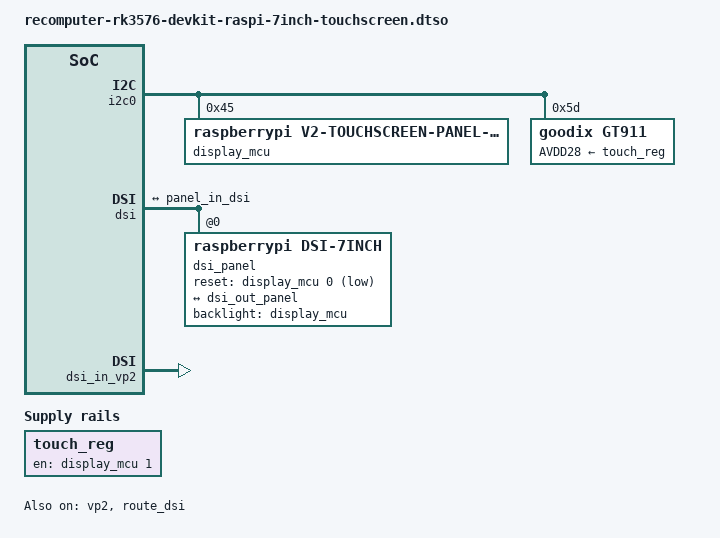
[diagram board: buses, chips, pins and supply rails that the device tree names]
/dts-v1/;
/plugin/;
#include <dt-bindings/usb/pd.h>
#include <dt-bindings/gpio/gpio.h>
#include <dt-bindings/pwm/pwm.h>
#include <dt-bindings/pinctrl/rockchip.h>
#include <dt-bindings/input/rk-input.h>
#include <dt-bindings/display/drm_mipi_dsi.h>
#include <dt-bindings/display/rockchip_vop.h>
#include <dt-bindings/sensor-dev.h>
#include <dt-bindings/gpio/gpio.h>
#include <dt-bindings/pinctrl/rockchip.h>

/ {


	fragment@0 {
		target-path = "/";

		__overlay__ {
			touch_reg: touch_reg {
				compatible = "regulator-fixed";
				regulator-name = "touch_reg_1";
				gpio = <&display_mcu 1 GPIO_ACTIVE_HIGH>;
				startup-delay-us = <50000>;
				enable-active-high;
				regulator-boot-on;
				regulator-always-on;
			};
		};
	};

	fragment@1 {
		target = <&i2c0>;

		__overlay__ {
			status = "okay";
			pinctrl-0 = <&i2c0m1_xfer>;

			display_mcu: display_mcu@45 {
				compatible = "raspberrypi,v2-touchscreen-panel-regulator";
				reg = <0x45>;
				gpio-controller;
				#gpio-cells = <2>;
			};

			gt911: gt911@5d {
				compatible = "goodix,gt911";
				reg = <0x5d>;
				AVDD28-supply = <&touch_reg>;
				touchscreen-size-x = <720>;
				touchscreen-size-y = <1280>;
				touchscreen-x-mm = <90>;
				touchscreen-y-mm = <151>;
				// touchscreen-inverted-x;
				// touchscreen-inverted-y;
				// touchscreen-swapped-x-y;
			};
		};
	};


	fragment@2 {
		target = <&dsi>;

		__overlay__ {
			status = "okay";

			dsi_panel: dsi_panel@0 {
				reg = <0>;
				compatible = "raspberrypi,dsi-7inch";
				reset-gpio = <&display_mcu 0 GPIO_ACTIVE_LOW>;
				backlight = <&display_mcu>;
				rotation = <90>;
				port {
					panel_in_dsi: endpoint {
						remote-endpoint = <&dsi_out_panel>;
					};
				};
			};

			ports {
				#address-cells = <1>;
				#size-cells = <0>;

				port@1 {
					reg = <1>;
					dsi_out_panel: endpoint {
						remote-endpoint = <&panel_in_dsi>;
					};
				};
			};

		};
	};


	fragment@3 {
		target = <&vp2>;

		__overlay__ {
			status = "okay";
		};
	};


	fragment@4 {
		target = <&dsi_in_vopl>;
		__overlay__ {
			status = "disabled";
		};
	};


	fragment@5 {
		target = <&dsi_in_vp2>;

		__overlay__ {
			status = "okay";
		};
	};

	fragment@6 {
		target = <&dsi_in_vp1>;

		__overlay__ {
			status = "disabled";
		};
	};

	fragment@7 {
		target = <&dsi_in_vp0>;

		__overlay__ {
			status = "disabled";
		};
	};

	fragment@8 {
		target = <&route_dsi>;

		__overlay__ {
			status = "okay";
			connect = <&vp2_out_dsi>;
		};
	};


};
